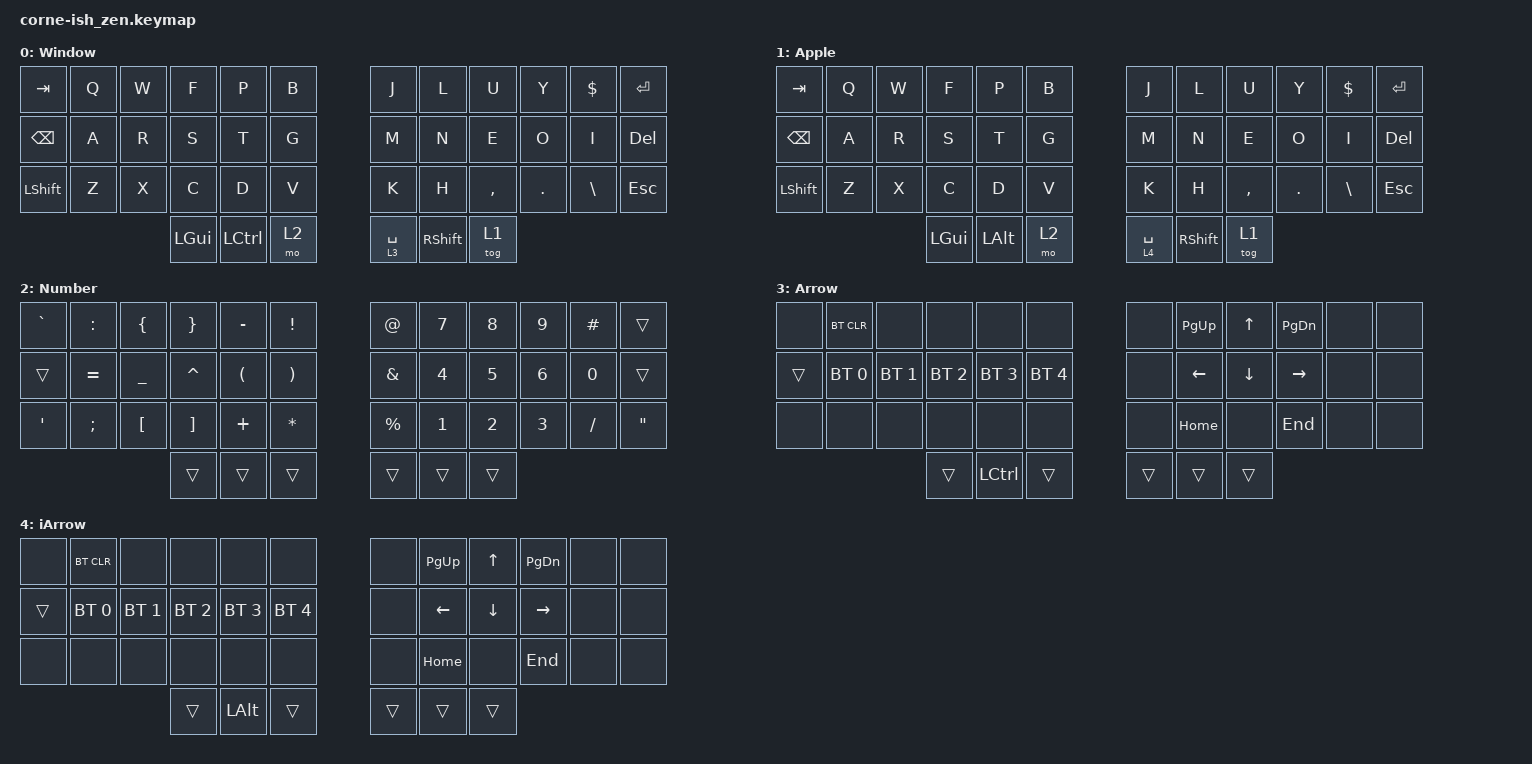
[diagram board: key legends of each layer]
/*
*
* Copyright (c) 2021 lowprokb.ca
* SPDX-License-Identifier: MIT
*
*/

#include <behaviors.dtsi>
#include <dt-bindings/zmk/keys.h>
#include <dt-bindings/zmk/bt.h>

/ {
        keymap {
                compatible = "zmk,keymap";
                default_layer {
                        label = "Window";
// -----------------------------------------------------------------------------------------
// |  TAB |  Q  |  W  |  F  |  P  |  B  |       |  J  |  L  |  U  |  Y  |  $  | ENTR |
// | CTRL |  A  |  R  |  S  |  T  |  G  |       |  M  |  N  |  E  |  O  |  I  | DEL  |
// | SHFT |  Z  |  X  |  C  |  D  |  V  |       |  K  |  H  |  ,  |  .  |  \  | ESC  |
//                    | GUI | CTRL| NUM |       | SPC | SHFT |APPLE|
                        bindings = <
   &kp TAB   &kp Q &kp W &kp F &kp P &kp B        &kp J &kp L &kp U    &kp Y   &kp DLLR    &kp ENTER
   &kp BSPC  &kp A &kp R &kp S &kp T &kp G        &kp M &kp N &kp E    &kp O   &kp I       &kp DEL
   &kp LSHFT &kp Z &kp X &kp C &kp D &kp V        &kp K &kp H &kp CMMA &kp DOT &kp BSLH    &kp ESC
                  &kp LGUI &kp LCTRL &mo 2        &lt 3 SPC &kp RSHFT  &tog 1
                        >;
                };
                IOS_layer {
                        label = "Apple";
// -----------------------------------------------------------------------------------------
// |  TAB |  Q  |  W  |  F  |  P  |  B  |       |  J  |  L  |  U  |  Y  |  $  | ENTR |
// | CTRL |  A  |  R  |  S  |  T  |  G  |       |  M  |  N  |  E  |  O  |  I  | DEL  |
// | SHFT |  Z  |  X  |  C  |  D  |  V  |       |  K  |  H  |  ,  |  .  |  \  | ESC  |
//                    | GUI | ALT | NUM |       | SPC | SHFT|WINDO|
                        bindings = <
   &kp TAB   &kp Q &kp W &kp F &kp P &kp B        &kp J &kp L &kp U    &kp Y   &kp DLLR    &kp ENTER
   &kp BSPC  &kp A &kp R &kp S &kp T &kp G        &kp M &kp N &kp E    &kp O   &kp I       &kp DEL
   &kp LSHFT &kp Z &kp X &kp C &kp D &kp V        &kp K &kp H &kp CMMA &kp DOT &kp BSLH    &kp ESC
                  &kp LGUI &kp LALT  &mo 2        &lt 4 SPC &kp RSHFT  &tog 1
                        >;
                };    
                lower_layer {
                        label = "Number";
// -----------------------------------------------------------------------------------------
// |  `  |  :  |  {  |  }  |  -  |  !  |        |  @  |  7  |  8  |  9  |  #  | ENTR |
// | BSPC|  =  |  _  |  ^  |  (  |  )  |        |  &  |  4  |  5  |  6  |  0  | DEL  |
// |  '  |  ;  |  [  |  ]  |  +  |  *  |        |  %  |  1  |  2  |  3  |  /  |  ''  |
//                   |     |     |     |        |     |     |     |
                        bindings = <
   &kp GRAVE &kp COLON &kp LBRC  &kp RBRC  &kp MINUS &kp EXCL           &kp AT    &kp N7 &kp N8 &kp N9 &kp HASH  &trans
   &trans    &kp EQUAL &kp UNDER &kp CARET &kp LPAR  &kp RPAR           &kp AMPS  &kp N4 &kp N5 &kp N6 &kp N0    &trans
   &kp APOS  &kp SEMI  &kp LBKT  &kp RBKT  &kp PLUS  &kp ASTRK          &kp PRCNT &kp N1 &kp N2 &kp N3 &kp FSLH  &kp DQT
                          	        &trans  &trans  &trans          &trans  &trans   &trans
                        >;
                };
                arrowWINDOW_layer {
                        label = "Arrow";
// -----------------------------------------------------------------------------------------
// |      |     |     |     |     |     |       |     |PG UP|  ^  |PG DN|     |      |
// |      |     |     |     |     |     |       |     |  <  |  v  |  >  |     |      |
// |      |     |     |     |     |     |       |     | HOME|     | END |     |      |
//                    |     |LCTRL|     |       |     |     |     |
                        bindings = <
   &none      &bt BT_CLR   &none        &none        &none        &none                 &none     &kp PG_UP &kp UP   &kp PG_DN &none   &none
   &trans     &bt BT_SEL 0 &bt BT_SEL 1 &bt BT_SEL 2 &bt BT_SEL 3 &bt BT_SEL 4          &none     &kp LEFT  &kp DOWN &kp RIGHT &none   &none
   &none      &none        &none        &none        &none        &none                 &none     &kp HOME  &none    &kp END   &none   &none
                                                     &trans  &kp LCTRL  &trans          &trans    &trans    &trans
                        >;
                };
  
                arrowIOS_layer {
                        label = "iArrow";
// -----------------------------------------------------------------------------------------
// |      |     |     |     |     |     |       |     |PG UP|  ^  |PG DN|     |      |
// |      |     |     |     |     |     |       |     |  <  |  v  |  >  |     |      |
// |      |     |     |     |     |     |       |     | HOME|     | END |     |      |
//                    |     | LALT|     |       |     |     |     |
                        bindings = <
   &none      &bt BT_CLR   &none        &none        &none        &none                 &none     &kp PG_UP &kp UP   &kp PG_DN &none   &none
   &trans     &bt BT_SEL 0 &bt BT_SEL 1 &bt BT_SEL 2 &bt BT_SEL 3 &bt BT_SEL 4          &none     &kp LEFT  &kp DOWN &kp RIGHT &none   &none
   &none      &none        &none        &none        &none        &none                 &none     &kp HOME  &none    &kp END   &none   &none
                                                &trans  &kp LALT  &trans                &trans    &trans    &trans
                        >;
                };
        };
};
